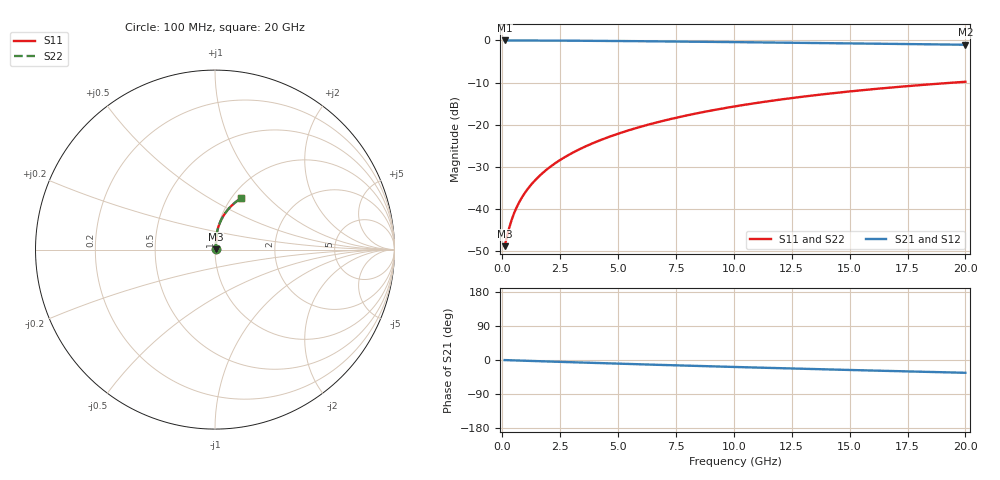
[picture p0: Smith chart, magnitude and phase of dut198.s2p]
! Touchstone file exported from HFSS 2024.1.0
!  File:  C:/UserFiles/LocalFiles/RDL_TSV_Batchsim/temp_RDL_top_198_1778686880.aedt
!  Generated:  11:43:34 PM May 13, 2026
!  Design:  RDL_top
!  Project:  temp_RDL_top_198_1778686880
!  Setup:  Setup1
!  Solution:  Sweep
! Variables:
!  dtsv = 10.80580581um
!  hbump = 3um
!  htsv = 97.8um
!  ldown = 100um
!  lrdl = 455.2um
!  p = 40
!  p1 = 48.65um
!  rhole = 1um
!  t = 450um
!  tdown = 3.915915916um
!  trdl = 2.49um
!  wdown = 15.38538539um
!  wrdl = 22.11um
# GHz S MA R 50.000000
! Terminal data exported
! Port[1] = Box2_T1
! Port[2] = Box2_T2
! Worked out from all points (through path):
!   200 points, 100 MHz to 20 GHz, reference 50 ohm
!   highest |S21| = -0.03 dB at 100 MHz (marker M1); lowest = -1.0 dB at 20 GHz (marker M2)
!   group delay of S21, straight-line fit = 4.66 ps
!   lowest |S11| = -48.8 dB at 100 MHz (marker M3), VSWR 1.01, Z = 50.3 + j0.169 ohm
!   |S11| at or under -10 dB: start of sweep to 19.54 GHz
!   |S22| runs from -48.8 to -9.8 dB; largest |S21 - S12| = 2.6e-15
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0.1  0.003625 27.5  0.9968 -0.2  0.9968 -0.2  0.003625 27.5
! Gamma 0 0 0 0
! Port Impedance 50 0 50 0
0.3  0.005994 55.1  0.9965 -0.6  0.9965 -0.6  0.005994 55.1
0.4  0.007379 61.1  0.9963 -0.8  0.9963 -0.8  0.007379 61.1
0.5  0.008785 65.2  0.9962 -1.0  0.9962 -1.0  0.008785 65.2
0.6  0.01019 68.2  0.996 -1.2  0.996 -1.2  0.01019 68.2
0.8  0.01303 72.3  0.9957 -1.6  0.9957 -1.6  0.01303 72.3
1  0.01588 75.1  0.9953 -2.0  0.9953 -2.0  0.01588 75.1
1.2  0.01876 77.1  0.995 -2.4  0.995 -2.4  0.01876 77.1
1.4  0.02167 78.7  0.9946 -2.8  0.9946 -2.8  0.02167 78.7
1.7  0.0261 80.3  0.994 -3.4  0.994 -3.4  0.0261 80.3
2.2  0.03359 82.1  0.9928 -4.3  0.9928 -4.3  0.03359 82.1
2.8  0.04278 83.4  0.991 -5.5  0.991 -5.5  0.04278 83.4
3.5  0.05374 84.0  0.9885 -6.8  0.9885 -6.8  0.05374 84.1
4.2  0.06498 84.3  0.9856 -8.2  0.9856 -8.2  0.06498 84.3
5  0.07811 84.1  0.9818 -9.6  0.9818 -9.6  0.07811 84.1
6.8  0.1086 82.8  0.9722 -12.9  0.9722 -12.9  0.1086 82.8
8.4  0.1362 80.9  0.9628 -15.7  0.9628 -15.7  0.1362 80.9
10.1  0.1658 78.5  0.9522 -18.5  0.9522 -18.5  0.1658 78.5
11.7  0.1932 76.0  0.9419 -21.1  0.9419 -21.1  0.1932 76.0
13.4  0.2217 73.3  0.9308 -23.8  0.9308 -23.8  0.2217 73.3
16.7  0.2743 68.0  0.9089 -28.9  0.9089 -28.9  0.2744 68.0
20  0.3227 62.9  0.8866 -33.8  0.8866 -33.8  0.3227 62.9
